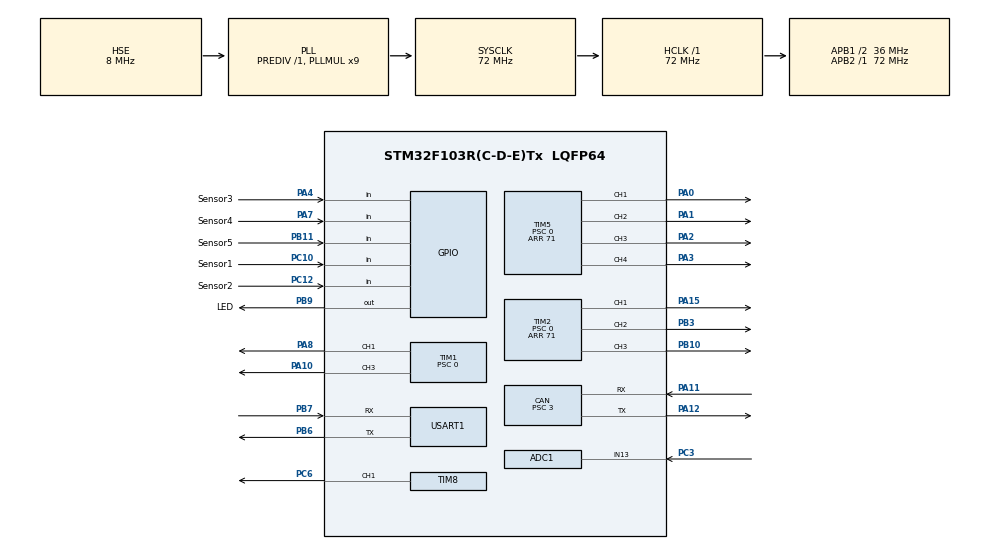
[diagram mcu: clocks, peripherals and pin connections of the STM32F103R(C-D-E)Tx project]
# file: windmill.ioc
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ADC1.Channel-1\#ChannelRegularConversion=ADC_CHANNEL_13
ADC1.NbrOfConversionFlag=1
ADC1.Rank-1\#ChannelRegularConversion=1
ADC1.SamplingTime-1\#ChannelRegularConversion=ADC_SAMPLETIME_1CYCLE_5
ADC1.master=1
CAN.BS1=CAN_BS1_7TQ
CAN.BS2=CAN_BS2_4TQ
CAN.CalculateBaudRate=999999
CAN.CalculateTimeBit=1000
CAN.CalculateTimeQuantum=83.33333333333334
CAN.Prescaler=3
Dma.Request0=TIM2_CH1
Dma.Request1=TIM2_CH2/CH4
Dma.Request2=TIM2_CH3
Dma.Request3=TIM1_CH1
Dma.Request4=TIM1_CH3
Dma.Request5=TIM5_CH1
Dma.Request6=TIM5_CH2
Dma.Request7=TIM5_CH3/UP
Dma.Request8=TIM5_CH4/TRIG
Dma.Request9=TIM8_CH1
Dma.TIM1_CH1.3.Direction=DMA_MEMORY_TO_PERIPH
Dma.TIM1_CH1.3.Instance=DMA1_Channel2
Dma.TIM1_CH1.3.MemDataAlignment=DMA_MDATAALIGN_BYTE
Dma.TIM1_CH1.3.MemInc=DMA_MINC_ENABLE
Dma.TIM1_CH1.3.Mode=DMA_NORMAL
Dma.TIM1_CH1.3.PeriphDataAlignment=DMA_PDATAALIGN_HALFWORD
Dma.TIM1_CH1.3.PeriphInc=DMA_PINC_DISABLE
Dma.TIM1_CH1.3.Priority=DMA_PRIORITY_LOW
Dma.TIM1_CH3.4.Direction=DMA_MEMORY_TO_PERIPH
Dma.TIM1_CH3.4.Instance=DMA1_Channel6
Dma.TIM1_CH3.4.MemDataAlignment=DMA_MDATAALIGN_BYTE
Dma.TIM1_CH3.4.MemInc=DMA_MINC_ENABLE
Dma.TIM1_CH3.4.Mode=DMA_NORMAL
Dma.TIM1_CH3.4.PeriphDataAlignment=DMA_PDATAALIGN_HALFWORD
Dma.TIM1_CH3.4.PeriphInc=DMA_PINC_DISABLE
Dma.TIM1_CH3.4.Priority=DMA_PRIORITY_LOW
Dma.TIM2_CH1.0.Direction=DMA_MEMORY_TO_PERIPH
Dma.TIM2_CH1.0.Instance=DMA1_Channel5
Dma.TIM2_CH1.0.MemDataAlignment=DMA_MDATAALIGN_BYTE
Dma.TIM2_CH1.0.MemInc=DMA_MINC_ENABLE
Dma.TIM2_CH1.0.Mode=DMA_NORMAL
Dma.TIM2_CH1.0.PeriphDataAlignment=DMA_PDATAALIGN_HALFWORD
Dma.TIM2_CH1.0.PeriphInc=DMA_PINC_DISABLE
Dma.TIM2_CH1.0.Priority=DMA_PRIORITY_LOW
Dma.TIM2_CH2/CH4.1.Direction=DMA_MEMORY_TO_PERIPH
Dma.TIM2_CH2/CH4.1.Instance=DMA1_Channel7
Dma.TIM2_CH2/CH4.1.MemDataAlignment=DMA_MDATAALIGN_BYTE
Dma.TIM2_CH2/CH4.1.MemInc=DMA_MINC_ENABLE
Dma.TIM2_CH2/CH4.1.Mode=DMA_NORMAL
Dma.TIM2_CH2/CH4.1.PeriphDataAlignment=DMA_PDATAALIGN_HALFWORD
Dma.TIM2_CH2/CH4.1.PeriphInc=DMA_PINC_DISABLE
Dma.TIM2_CH2/CH4.1.Priority=DMA_PRIORITY_LOW
Dma.TIM2_CH3.2.Direction=DMA_MEMORY_TO_PERIPH
Dma.TIM2_CH3.2.Instance=DMA1_Channel1
Dma.TIM2_CH3.2.MemDataAlignment=DMA_MDATAALIGN_BYTE
Dma.TIM2_CH3.2.MemInc=DMA_MINC_ENABLE
Dma.TIM2_CH3.2.Mode=DMA_NORMAL
Dma.TIM2_CH3.2.PeriphDataAlignment=DMA_PDATAALIGN_HALFWORD
Dma.TIM2_CH3.2.PeriphInc=DMA_PINC_DISABLE
Dma.TIM2_CH3.2.Priority=DMA_PRIORITY_LOW
Dma.TIM5_CH1.5.Direction=DMA_MEMORY_TO_PERIPH
Dma.TIM5_CH1.5.Instance=DMA2_Channel5
Dma.TIM5_CH1.5.MemDataAlignment=DMA_MDATAALIGN_BYTE
Dma.TIM5_CH1.5.MemInc=DMA_MINC_ENABLE
Dma.TIM5_CH1.5.Mode=DMA_NORMAL
Dma.TIM5_CH1.5.PeriphDataAlignment=DMA_PDATAALIGN_HALFWORD
Dma.TIM5_CH1.5.PeriphInc=DMA_PINC_DISABLE
Dma.TIM5_CH1.5.Priority=DMA_PRIORITY_LOW
Dma.TIM5_CH2.6.Direction=DMA_MEMORY_TO_PERIPH
Dma.TIM5_CH2.6.Instance=DMA2_Channel4
Dma.TIM5_CH2.6.MemDataAlignment=DMA_MDATAALIGN_BYTE
Dma.TIM5_CH2.6.MemInc=DMA_MINC_ENABLE
Dma.TIM5_CH2.6.Mode=DMA_NORMAL
Dma.TIM5_CH2.6.PeriphDataAlignment=DMA_PDATAALIGN_HALFWORD
Dma.TIM5_CH2.6.PeriphInc=DMA_PINC_DISABLE
Dma.TIM5_CH2.6.Priority=DMA_PRIORITY_LOW
Dma.TIM5_CH3/UP.7.Direction=DMA_MEMORY_TO_PERIPH
Dma.TIM5_CH3/UP.7.Instance=DMA2_Channel2
Dma.TIM5_CH3/UP.7.MemDataAlignment=DMA_MDATAALIGN_BYTE
Dma.TIM5_CH3/UP.7.MemInc=DMA_MINC_ENABLE
Dma.TIM5_CH3/UP.7.Mode=DMA_NORMAL
Dma.TIM5_CH3/UP.7.PeriphDataAlignment=DMA_PDATAALIGN_HALFWORD
Dma.TIM5_CH3/UP.7.PeriphInc=DMA_PINC_DISABLE
Dma.TIM5_CH3/UP.7.Priority=DMA_PRIORITY_LOW
Dma.TIM5_CH4/TRIG.8.Direction=DMA_MEMORY_TO_PERIPH
Dma.TIM5_CH4/TRIG.8.Instance=DMA2_Channel1
Dma.TIM5_CH4/TRIG.8.MemDataAlignment=DMA_MDATAALIGN_BYTE
Dma.TIM5_CH4/TRIG.8.MemInc=DMA_MINC_ENABLE
Dma.TIM5_CH4/TRIG.8.Mode=DMA_NORMAL
Dma.TIM5_CH4/TRIG.8.PeriphDataAlignment=DMA_PDATAALIGN_HALFWORD
Dma.TIM5_CH4/TRIG.8.PeriphInc=DMA_PINC_DISABLE
Dma.TIM5_CH4/TRIG.8.Priority=DMA_PRIORITY_LOW
Dma.TIM8_CH1.9.Direction=DMA_MEMORY_TO_PERIPH
Dma.TIM8_CH1.9.Instance=DMA2_Channel3
Dma.TIM8_CH1.9.MemDataAlignment=DMA_MDATAALIGN_BYTE
Dma.TIM8_CH1.9.MemInc=DMA_MINC_ENABLE
Dma.TIM8_CH1.9.Mode=DMA_NORMAL
Dma.TIM8_CH1.9.PeriphDataAlignment=DMA_PDATAALIGN_HALFWORD
Dma.TIM8_CH1.9.PeriphInc=DMA_PINC_DISABLE
Dma.TIM8_CH1.9.Priority=DMA_PRIORITY_LOW
Mcu.Family=STM32F1
Mcu.Name=STM32F103R(C-D-E)Tx
Mcu.Package=LQFP64
NVIC.DMA1_Channel1_IRQn=true\:0\:0\:false\:false\:true\:false\:true\:true
NVIC.DMA1_Channel2_IRQn=true\:0\:0\:false\:false\:true\:false\:true\:true
NVIC.DMA1_Channel5_IRQn=true\:0\:0\:false\:false\:true\:false\:true\:true
NVIC.DMA1_Channel6_IRQn=true\:0\:0\:false\:false\:true\:false\:true\:true
NVIC.DMA1_Channel7_IRQn=true\:0\:0\:false\:false\:true\:false\:true\:true
NVIC.DMA2_Channel1_IRQn=true\:0\:0\:false\:false\:true\:false\:true\:true
NVIC.DMA2_Channel2_IRQn=true\:0\:0\:false\:false\:true\:false\:true\:true
NVIC.DMA2_Channel3_IRQn=true\:0\:0\:false\:false\:true\:false\:true\:true
NVIC.DMA2_Channel4_5_IRQn=true\:0\:0\:false\:false\:true\:false\:true\:true
NVIC.PriorityGroup=NVIC_PRIORITYGROUP_4
NVIC.TIM1_UP_IRQn=true\:0\:0\:false\:false\:true\:true\:true\:true
NVIC.TIM2_IRQn=true\:0\:0\:false\:false\:true\:true\:true\:true
NVIC.TIM3_IRQn=true\:0\:0\:false\:false\:true\:true\:true\:true
NVIC.TIM4_IRQn=true\:0\:0\:false\:false\:true\:true\:true\:true
NVIC.TIM5_IRQn=true\:0\:0\:false\:false\:true\:true\:true\:true
NVIC.TIM8_UP_IRQn=true\:0\:0\:false\:false\:true\:true\:true\:true
NVIC.USART1_IRQn=true\:0\:0\:false\:false\:true\:true\:true\:true
NVIC.USB_LP_CAN1_RX0_IRQn=true\:0\:0\:false\:false\:true\:true\:true\:true
PA0-WKUP.Signal=S_TIM5_CH1
PA1.Signal=S_TIM5_CH2
PA10.Signal=S_TIM1_CH3
PA11.Mode=CAN_Activate
PA11.Signal=CAN_RX
PA12.Mode=CAN_Activate
PA12.Signal=CAN_TX
PA13.Mode=Serial_Wire
PA13.Signal=SYS_JTMS-SWDIO
PA14.Mode=Serial_Wire
PA14.Signal=SYS_JTCK-SWCLK
PA15.Signal=S_TIM2_CH1_ETR
PA2.Signal=S_TIM5_CH3
PA3.Signal=S_TIM5_CH4
PA4.GPIO_Label=Sensor3
PA4.GPIO_PuPd=GPIO_PULLDOWN
PA4.Signal=GPIO_Input
PA7.GPIO_Label=Sensor4
PA7.GPIO_PuPd=GPIO_PULLDOWN
PA7.Signal=GPIO_Input
PA8.Signal=S_TIM1_CH1
PB10.Signal=S_TIM2_CH3
PB11.GPIO_Label=Sensor5
PB11.GPIO_PuPd=GPIO_PULLDOWN
PB11.Signal=GPIO_Input
PB3.Signal=S_TIM2_CH2
PB6.Mode=Asynchronous
PB6.Signal=USART1_TX
PB7.Mode=Asynchronous
PB7.Signal=USART1_RX
PB9.GPIO_Label=LED
PB9.GPIO_PuPd=GPIO_PULLUP
PB9.GPIO_Speed=GPIO_SPEED_FREQ_HIGH
PB9.Signal=GPIO_Output
PC10.GPIO_Label=Sensor1
PC10.GPIO_PuPd=GPIO_PULLDOWN
PC10.Signal=GPIO_Input
PC12.GPIO_Label=Sensor2
PC12.GPIO_PuPd=GPIO_PULLDOWN
PC12.Signal=GPIO_Input
PC3.Signal=ADCx_IN13
PC6.Signal=S_TIM8_CH1
PD0-OSC_IN.Mode=HSE-External-Oscillator
PD0-OSC_IN.Signal=RCC_OSC_IN
PD1-OSC_OUT.Mode=HSE-External-Oscillator
PD1-OSC_OUT.Signal=RCC_OSC_OUT
ProjectManager.HeapSize=0x200
ProjectManager.StackSize=0x400
ProjectManager.TargetToolchain=SW4STM32
RCC.ADCPresc=RCC_ADCPCLK2_DIV6
RCC.AHBFreq_Value=72000000
RCC.APB1CLKDivider=RCC_HCLK_DIV2
RCC.APB1Freq_Value=36000000
RCC.APB1TimFreq_Value=72000000
RCC.APB2Freq_Value=72000000
RCC.APB2TimFreq_Value=72000000
RCC.HCLKFreq_Value=72000000
RCC.PLLMUL=RCC_PLL_MUL9
RCC.PLLSourceVirtual=RCC_PLLSOURCE_HSE
RCC.SYSCLKFreq_VALUE=72000000
RCC.SYSCLKSource=RCC_SYSCLKSOURCE_PLLCLK
RCC.USBFreq_Value=72000000
SH.ADCx_IN13.0=ADC1_IN13,IN13
SH.S_TIM1_CH1.0=TIM1_CH1,PWM Generation1 CH1
SH.S_TIM1_CH3.0=TIM1_CH3,PWM Generation3 CH3
SH.S_TIM2_CH1_ETR.0=TIM2_CH1,PWM Generation1 CH1
SH.S_TIM2_CH2.0=TIM2_CH2,PWM Generation2 CH2
SH.S_TIM2_CH3.0=TIM2_CH3,PWM Generation3 CH3
SH.S_TIM5_CH1.0=TIM5_CH1,PWM Generation1 CH1
SH.S_TIM5_CH2.0=TIM5_CH2,PWM Generation2 CH2
SH.S_TIM5_CH3.0=TIM5_CH3,PWM Generation3 CH3
SH.S_TIM5_CH4.0=TIM5_CH4,PWM Generation4 CH4
SH.S_TIM8_CH1.0=TIM8_CH1,PWM Generation1 CH1
TIM1.Channel-PWM\ Generation1\ CH1=TIM_CHANNEL_1
TIM1.Channel-PWM\ Generation3\ CH3=TIM_CHANNEL_3
TIM1.Period=71
TIM1.Prescaler=0
TIM2.Channel-PWM\ Generation1\ CH1=TIM_CHANNEL_1
TIM2.Channel-PWM\ Generation2\ CH2=TIM_CHANNEL_2
TIM2.Channel-PWM\ Generation3\ CH3=TIM_CHANNEL_3
TIM2.Period=71
TIM2.Prescaler=0
TIM3.Period=71
TIM3.Prescaler=999
TIM4.Period=999
TIM4.Prescaler=89
TIM5.Channel-PWM\ Generation1\ CH1=TIM_CHANNEL_1
TIM5.Channel-PWM\ Generation2\ CH2=TIM_CHANNEL_2
TIM5.Channel-PWM\ Generation3\ CH3=TIM_CHANNEL_3
TIM5.Channel-PWM\ Generation4\ CH4=TIM_CHANNEL_4
TIM5.Period=71
TIM5.Prescaler=0
TIM6.Period=999
TIM6.Prescaler=89
TIM8.Channel-PWM\ Generation1\ CH1=TIM_CHANNEL_1
TIM8.Period=71
TIM8.Prescaler=0
USART1.VirtualMode=VM_ASYNC
VP_TIM1_VS_ClockSourceINT.Mode=Internal
VP_TIM2_VS_ClockSourceINT.Mode=Internal
VP_TIM3_VS_ClockSourceINT.Mode=Internal
VP_TIM4_VS_ClockSourceINT.Mode=Internal
VP_TIM5_VS_ClockSourceINT.Mode=Internal
VP_TIM6_VS_ClockSourceINT.Mode=Enable_Timer
board=custom

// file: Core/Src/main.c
/* USER CODE BEGIN Header */
/**
  ******************************************************************************
  * @file           : main.c
  * @brief          : Main program body
  ******************************************************************************
  * @attention
  *
  * Copyright (c) 2022 STMicroelectronics.
  * All rights reserved.
  *
  * This software is licensed under terms that can be found in the LICENSE file
  * in the root directory of this software component.
  * If no LICENSE file comes with this software, it is provided AS-IS.
  *
  ******************************************************************************
  */
/* USER CODE END Header */
#include "main.h"
#include "adc.h"
#include "can.h"
#include "dma.h"
#include "tim.h"
#include "usart.h"
#include "gpio.h"

/* USER CODE BEGIN Includes */
//#include "WS2812.h"
//#include "sensor.h"
#include "windmill_logic.h"
/* USER CODE END Includes */

/* USER CODE BEGIN PV */
extern DMA_HandleTypeDef hdma_tim2_ch1;
/* USER CODE END PV */

void SystemClock_Config(void);

/* USER CODE BEGIN 0 */
uint8_t flag = 0;
//uint8_t counter = 0;
extern uint16_t windmill_counter;
uint8_t sensor = 0;

uint8_t led_on[24];
uint8_t led_off[24];

uint8_t strip[5][24];

void HAL_TIM_PWM_PulseFinishedCallback(TIM_HandleTypeDef *htim)
{
  WS2812_StopDMA(htim);
}

void HAL_TIM_PeriodElapsedCallback(TIM_HandleTypeDef *htim)
{
  if(htim->Instance == TIM3){
    WS2812_Update();
  }else if(htim->Instance == TIM4){
    WindmillUpdate();
  }
}

void KeyScan(void)
{
  static uint16_t sensor_counter[5] = {0,0,0,0,0};

  if(HAL_GPIO_ReadPin(Sensor1_GPIO_Port,Sensor1_Pin) == GPIO_PIN_SET){
    HAL_Delay(10);
    if(HAL_GPIO_ReadPin(Sensor1_GPIO_Port,Sensor1_Pin) == GPIO_PIN_SET){
      sensor|=1;
    }
  }

  if(HAL_GPIO_ReadPin(Sensor2_GPIO_Port,Sensor2_Pin) == GPIO_PIN_SET) {
    HAL_Delay(10);
    if (HAL_GPIO_ReadPin(Sensor2_GPIO_Port, Sensor2_Pin) == GPIO_PIN_SET) {
      sensor |= 2;
    }
  }

  if(HAL_GPIO_ReadPin(Sensor3_GPIO_Port,Sensor3_Pin) == GPIO_PIN_SET) {
    HAL_Delay(10);
    if (HAL_GPIO_ReadPin(Sensor3_GPIO_Port,Sensor3_Pin) == GPIO_PIN_SET) {
      sensor |= 4;
    }
  }

  if(HAL_GPIO_ReadPin(Sensor4_GPIO_Port,Sensor4_Pin) == GPIO_PIN_SET){
    if(HAL_GPIO_ReadPin(Sensor4_GPIO_Port,Sensor4_Pin) == GPIO_PIN_SET){
      sensor|=8;
    }
  }

  if(HAL_GPIO_ReadPin(Sensor5_GPIO_Port,Sensor5_Pin) == GPIO_PIN_SET){
    HAL_Delay(10);
    if(HAL_GPIO_ReadPin(Sensor5_GPIO_Port,Sensor5_Pin) == GPIO_PIN_SET){
      sensor|=16;
    }
  }
}
/* USER CODE END 0 */

int main(void)
{

  /* MCU Configuration--------------------------------------------------------*/

  /* Reset of all peripherals, Initializes the Flash interface and the Systick. */
  HAL_Init();

  /* Configure the system clock */
  SystemClock_Config();

  /* Initialize all configured peripherals */
  MX_GPIO_Init();
  MX_DMA_Init();
  MX_TIM1_Init();
  MX_TIM2_Init();
  MX_CAN_Init();
  MX_TIM5_Init();
  MX_TIM8_Init();
  MX_USART1_UART_Init();
  MX_TIM3_Init();
  MX_TIM6_Init();
  MX_TIM4_Init();
  MX_ADC1_Init();
  /* USER CODE BEGIN 2 */
  WindmillInit();
//  SensorInit(&sensor);
  HAL_TIM_Base_Start_IT(&htim3);
  HAL_TIM_Base_Start_IT(&htim4);
  HAL_GPIO_WritePin(LED_GPIO_Port,LED_Pin,GPIO_PIN_SET);

  HAL_ADC_Start(&hadc1);
  HAL_Delay(1);
  srand(HAL_ADC_GetValue(&hadc1));
  HAL_ADC_Stop(&hadc1);
  /* USER CODE END 2 */

  /* Infinite loop */
  /* USER CODE BEGIN WHILE */
  uint8_t state=0;
  uint8_t random_num = 0x1F;
  uint8_t order[5];
  uint8_t order_counter = 0;
  while (1)
  {
    /* USER CODE END WHILE */

    /* USER CODE BEGIN 3 */
    switch (state) {
    case 0:
      HAL_Delay(200);
      for(uint8_t i = 0;i<5;i++) SetFanBladeState(i,ALL_OFF);
      order_counter = 0;
      for(uint8_t i=0;i<5;i++) order[i] = i;
      for(uint8_t i=0;i<5;i++){
        uint8_t ran = rand()%5;
        uint8_t temp = order[ran];
        order[ran] = order[0];
        order[0] = temp;
      }
      state++;
      HAL_Delay(200);
      break;
    case 1:
      if(order_counter<5){
//        uint8_t temp;
        SetFanBladeState(order[order_counter],IMPACTED);
        while(1){
          KeyScan();
          if((sensor>>order[order_counter])&1) {
            SetFanBladeState(order[order_counter], ALL_ON);
            order_counter++;
            sensor = 0;
            break;
          }
//          }else if(sensor&(~(1<<order[order_counter]))){
//            state = 0;
//            sensor=0;
//            break;
//          }
//          if(sensor) HAL_GPIO_WritePin(LED_GPIO_Port,LED_Pin,GPIO_PIN_RESET);
          sensor=0;
          HAL_Delay(10);
        }
      }else state++;
      break;
    case 2:
      for(uint8_t k=0;k<3;k++){
        HAL_Delay(200);
        for(uint8_t i=0;i<5;i++) SetFanBladeState(i,ALL_OFF);
        HAL_Delay(200);
        for(uint8_t i=0;i<5;i++) SetFanBladeState(i,ALL_ON);
      }
      state = 0;
      break;
    default:break;
    }
  }
  /* USER CODE END 3 */
}

void SystemClock_Config(void)
{
  RCC_OscInitTypeDef RCC_OscInitStruct = {0};
  RCC_ClkInitTypeDef RCC_ClkInitStruct = {0};
  RCC_PeriphCLKInitTypeDef PeriphClkInit = {0};

  /** Initializes the RCC Oscillators according to the specified parameters
  * in the RCC_OscInitTypeDef structure.
  */
  RCC_OscInitStruct.OscillatorType = RCC_OSCILLATORTYPE_HSE;
  RCC_OscInitStruct.HSEState = RCC_HSE_ON;
  RCC_OscInitStruct.HSEPredivValue = RCC_HSE_PREDIV_DIV1;
  RCC_OscInitStruct.HSIState = RCC_HSI_ON;
  RCC_OscInitStruct.PLL.PLLState = RCC_PLL_ON;
  RCC_OscInitStruct.PLL.PLLSource = RCC_PLLSOURCE_HSE;
  RCC_OscInitStruct.PLL.PLLMUL = RCC_PLL_MUL9;
  if (HAL_RCC_OscConfig(&RCC_OscInitStruct) != HAL_OK)
  {
    Error_Handler();
  }

  /** Initializes the CPU, AHB and APB buses clocks
  */
  RCC_ClkInitStruct.ClockType = RCC_CLOCKTYPE_HCLK|RCC_CLOCKTYPE_SYSCLK
                              |RCC_CLOCKTYPE_PCLK1|RCC_CLOCKTYPE_PCLK2;
  RCC_ClkInitStruct.SYSCLKSource = RCC_SYSCLKSOURCE_PLLCLK;
  RCC_ClkInitStruct.AHBCLKDivider = RCC_SYSCLK_DIV1;
  RCC_ClkInitStruct.APB1CLKDivider = RCC_HCLK_DIV2;
  RCC_ClkInitStruct.APB2CLKDivider = RCC_HCLK_DIV1;

  if (HAL_RCC_ClockConfig(&RCC_ClkInitStruct, FLASH_LATENCY_2) != HAL_OK)
  {
    Error_Handler();
  }
  PeriphClkInit.PeriphClockSelection = RCC_PERIPHCLK_ADC;
  PeriphClkInit.AdcClockSelection = RCC_ADCPCLK2_DIV6;
  if (HAL_RCCEx_PeriphCLKConfig(&PeriphClkInit) != HAL_OK)
  {
    Error_Handler();
  }
}

void Error_Handler(void)
{
  __disable_irq();
  while (1)
  {
  }
}
